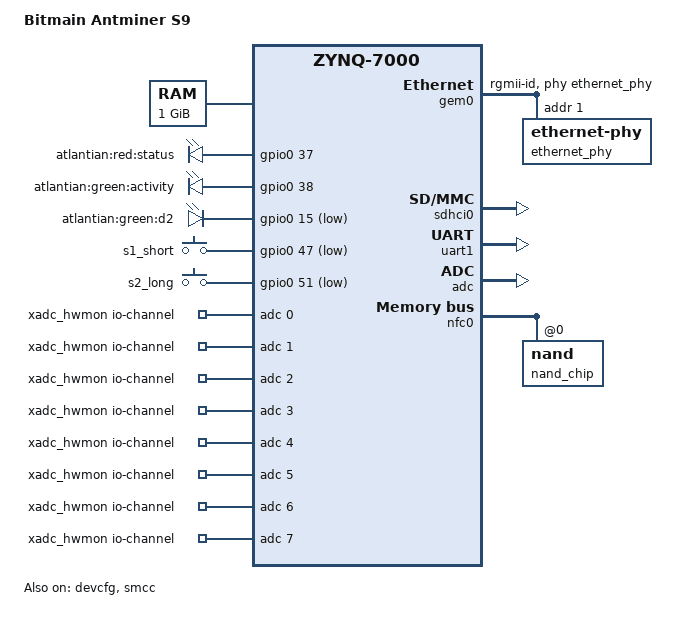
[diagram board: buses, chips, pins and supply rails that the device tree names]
// SPDX-License-Identifier: GPL-2.0
/* AtlANTian base hardware contract for Bitmain Antminer S9. */
/dts-v1/;
#include "zynq-7000.dtsi"
#include <dt-bindings/gpio/gpio.h>
#include <dt-bindings/input/input.h>

/ {
	model = "Bitmain Antminer S9";
	compatible = "bitmain,antminer-s9", "xlnx,zynq-7000";

	aliases {
		ethernet0 = &gem0;
		serial0 = &uart1;
		mmc0 = &sdhci0;
		gpio0 = &gpio0;
		nand0 = &nfc0;
		xadc0 = &adc;
	};

	/*
	 * 1 GiB is the Antminer S9 probe ceiling, not a claim that every board
	 * contains 1 GiB. U-Boot probes the installed DDR and ARM bootm fixes this
	 * /memory node to the detected bank size before Linux starts. Keep the DT
	 * ceiling at the hardware maximum and never cap Linux with a mem= argument.
	 */
	memory@0 {
		device_type = "memory";
		reg = <0x0 0x40000000>;
	};

	reserved-memory {
		#address-cells = <1>;
		#size-cells = <1>;
		ranges;
		bootcount@efffff0 { reg = <0x0efffff0 0x10>; no-map; };
		fpga_space@f000000 { reg = <0x0f000000 0x01000000>; no-map; };
	};

	chosen { stdout-path = "serial0:115200n8"; };

	/*
	 * D3 is the bicolour board-status LED. Its two 2N7002 low-side
	 * switches are driven directly by PS MIO37 (red) and MIO38 (green).
	 * A high GPIO level drives a MOSFET gate and lights the corresponding LED,
	 * so both outputs are active-high. Export them through the standard LED class rather
	 * than leaving them as undocumented GPIOs.
	 */
	leds {
		compatible = "gpio-leds";

		status_red {
			label = "atlantian:red:status";
			gpios = <&gpio0 37 GPIO_ACTIVE_HIGH>;
			default-state = "off";
		};

		activity_green {
			label = "atlantian:green:activity";
			gpios = <&gpio0 38 GPIO_ACTIVE_HIGH>;
			default-state = "off";
		};

		/* D2: V3P3 -> R27 -> LED -> MIO15, therefore active-low. */
		fpga_ready_green {
			label = "atlantian:green:d2";
			gpios = <&gpio0 15 GPIO_ACTIVE_LOW>;
			default-state = "off";
		};
	};

	/*
	 * The two physical keys are pulled high and short their MIO line to GND
	 * when pressed. They deliberately use otherwise-unbound KEY_PROG codes:
	 * the base system gives them no policy, so applications may subscribe to
	 * their input events without a button unexpectedly powering down the board.
	 */
	buttons {
		compatible = "gpio-keys";
		pinctrl-names = "default";
		pinctrl-0 = <&pinctrl_board_buttons>;

		s1_short {
			label = "s1_short";
			linux,code = <KEY_PROG1>;
			gpios = <&gpio0 47 GPIO_ACTIVE_LOW>;
			debounce-interval = <20>;
		};

		s2_long {
			label = "s2_long";
			linux,code = <KEY_PROG2>;
			gpios = <&gpio0 51 GPIO_ACTIVE_LOW>;
			debounce-interval = <20>;
		};
	};

	/* The base image supplies FPGA infrastructure, never a bitstream. */
	fpga_full: fpga-full {
		compatible = "fpga-region";
		fpga-mgr = <&devcfg>;
		#address-cells = <1>;
		#size-cells = <1>;
		ranges;
	};

	/* Preserve native IIO and also expose XADC through standard hwmon/sensors. */
	xadc_hwmon: xadc-hwmon {
		compatible = "iio-hwmon";
		io-channels = <&adc 0>, <&adc 1>, <&adc 2>, <&adc 3>,
			      <&adc 4>, <&adc 5>, <&adc 6>, <&adc 7>, <&adc 8>;
	};
};

&clkc { ps-clk-frequency = <33333333>; };

&gem0 {
	status = "okay";
	phy-mode = "rgmii-id";
	phy-handle = <&ethernet_phy>;
	ethernet_phy: ethernet-phy@1 { reg = <1>; };
};

&sdhci0 { status = "okay"; disable-wp; };
&uart1 { status = "okay"; };
/*
 * The boot firmware configures these pads as USB (the observed MIO value
 * is 0x1404, whose mux selector is 2). On the target board they are physically
 * wired only to the D3 MOSFET gates, so that mux leaves both LEDs outside
 * Linux GPIO control.
 * Merely attaching gpio-leds changes the GPIO data register, but not the
 * MIO multiplexor, which is why D3 could remain permanently lit. Claim both
 * pads explicitly as GPIO before the LED class binds them.
 */
&pinctrl0 {
	pinctrl_d2_led: d2-led {
		mux {
			groups = "gpio0_15_grp";
			function = "gpio0";
		};
	};

	pinctrl_d3_leds: d3-leds {
		mux {
			groups = "gpio0_37_grp", "gpio0_38_grp";
			function = "gpio0";
		};
	};

	/*
	 * Physical PS outputs that the vendor FSBL leaves in the USB0 mux.
	 * Claim only their mux here. Linux keeps every line as a high-impedance
	 * input until a deliberate libgpiod consumer requests it, so hashboard
	 * enables and the buzzer cannot assert during boot.
	 */
	pinctrl_board_aux: board-aux-gpio {
		mux {
			groups = "gpio0_28_grp", "gpio0_29_grp", "gpio0_30_grp",
				 "gpio0_31_grp", "gpio0_32_grp", "gpio0_33_grp",
				 "gpio0_34_grp", "gpio0_35_grp", "gpio0_36_grp",
				 "gpio0_39_grp";
			function = "gpio0";
		};
	};

	pinctrl_board_buttons: board-buttons {
		mux {
			groups = "gpio0_47_grp", "gpio0_51_grp";
			function = "gpio0";
		};
	};
};

&gpio0 {
	status = "okay";
	pinctrl-names = "default";
	pinctrl-0 = <&pinctrl_d2_led &pinctrl_d3_leds &pinctrl_board_aux>;
	/*
	 * Names are an ABI for libgpiod users. They claim neither direction nor
	 * polarity, so potentially hazardous outputs (buzzer and hashboard EN)
	 * remain inactive until an application deliberately requests them.
	 * Only PS MIO0..53 are named; the remaining EMIO lines stay available for
	 * a loaded PL profile.
	 */
	gpio-line-names =
		"nand-mio0", "nand-mio1", "nand-mio2", "nand-mio3",
		"nand-mio4", "nand-mio5", "nand-mio6", "nand-mio7",
		"nand-mio8", "nand-mio9", "nand-mio10", "nand-mio11",
		"nand-mio12", "nand-mio13", "nand-mio14", "d2-green",
		"mio16", "mio17", "mio18", "mio19", "mio20", "mio21",
		"mio22", "mio23", "mio24", "mio25", "mio26", "mio27",
		"hashboard-enable1", "hashboard-enable2",
		"hashboard-enable3", "hashboard-enable4",
		"hashboard-enable5", "hashboard-enable6",
		"hashboard-enable7", "hashboard-enable8",
		"hashboard-enable9", "d3-red", "d3-green", "buzzer",
		"sd-d0", "sd-d1", "sd-d2", "sd-d3", "sd-cmd", "sd-clk",
		"sd-card-detect", "s1-short", "uart1-tx", "uart1-rx",
		"sd-write-protect", "s2-long", "mdio", "mdc";
};
&devcfg { status = "okay"; };
&adc {
	status = "okay";
	#io-channel-cells = <1>;
};
&smcc { status = "okay"; };
&nfc0 {
	status = "okay";

	/* The PL353 driver discovers chips from child chip-select nodes. */
	nand_chip: nand@0 {
		reg = <0>;
		/*
		 * MT29F2G08ABAEAWP requires 4-bit correction per 512-byte step and
		 * provides a compatible Micron on-die BCH engine. The generic NAND
		 * binding selects on-die ECC by pointing nand-ecc-engine at the chip
		 * node itself. Keep the required geometry explicit so probe fails
		 * closed if a future replacement chip cannot satisfy this contract.
		 */
		nand-ecc-engine = <&nand_chip>;
		nand-ecc-algo = "bch";
		nand-ecc-strength = <4>;
		nand-ecc-step-size = <512>;
	};
};
&watchdog0 { reset-on-timeout; timeout-sec = <200>; };
